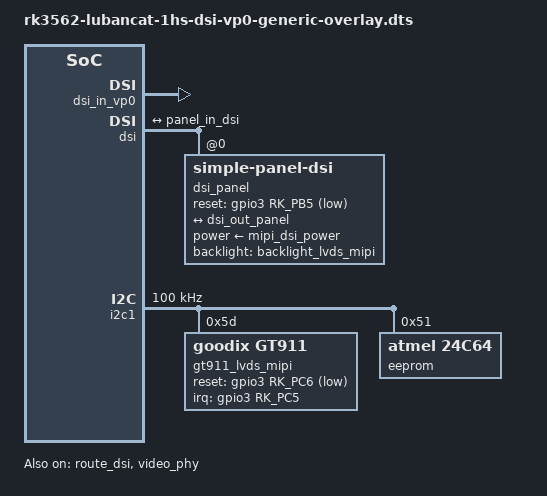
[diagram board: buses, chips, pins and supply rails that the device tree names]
/dts-v1/;
/plugin/;

#include <dt-bindings/gpio/gpio.h>
#include <dt-bindings/pinctrl/rockchip.h>
#include <dt-bindings/display/drm_mipi_dsi.h>
#include <dt-bindings/interrupt-controller/irq.h>

/ {
	fragment@0 {
		target = <&route_dsi>;

		__overlay__ {
			status = "okay";
			connect = <&vp0_out_dsi>;
		};
	};

	fragment@1 {
		target = <&video_phy>;

		__overlay__ {
			status = "okay";
		};
	};

	fragment@2 {
		target = <&dsi_in_vp0>;

		__overlay__ {
			status = "okay";
		};
	};

	fragment@3 {
		target = <&dsi>;

		__overlay__ {
			status = "okay";
			#address-cells = <1>;
			#size-cells = <0>;

			dsi_panel: panel@0 {
				status = "okay";
				compatible = "simple-panel-dsi";
				reg = <0>;
				backlight = <&backlight_lvds_mipi>;
				power-supply=<&mipi_dsi_power>;
				reset-gpios = <&gpio3 RK_PB5 GPIO_ACTIVE_LOW>;
				pinctrl-names = "default";
				pinctrl-0 = <&lcd_rst_gpio>;

				enable-delay-ms = <35>;
				prepare-delay-ms = <6>;
				reset-delay-ms = <10>;
				init-delay-ms = <50>;
				unprepare-delay-ms = <0>;
				disable-delay-ms = <20>;

				size,width = <74>;
				size,height = <133>;

				dsi,flags = <(MIPI_DSI_MODE_VIDEO | MIPI_DSI_MODE_VIDEO_BURST | MIPI_DSI_MODE_LPM)>;
				dsi,format = <MIPI_DSI_FMT_RGB888>;
				dsi,lanes  = <4>;

				nvmem = <&eeprom0>;
				nvmem-names = "eeprom";

				ports {
					#address-cells = <1>;
					#size-cells = <0>;
					port@0 {
						reg = <0>;
						panel_in_dsi: endpoint {
							remote-endpoint = <&dsi_out_panel>;
						};
					};
				};
			};

			ports {
				#address-cells = <1>;
				#size-cells = <0>;
				port@1 {
					reg = <1>;
					dsi_out_panel: endpoint {
						remote-endpoint = <&panel_in_dsi>;
					};
				};
			};
		};
	};

	fragment@4 {
		target = <&i2c1>;

		__overlay__ {
			status = "okay";
			#address-cells = <1>;
			#size-cells = <0>;
			pinctrl-names = "default";
			pinctrl-0 = <&i2c1m1_xfer>;
			clock-frequency = <100000>;

			gt911_lvds_mipi: gt911@5d {
				status = "okay";
				compatible = "goodix,gt911";
				reg = <0x5d>;
				interrupt-parent = <&gpio3>;
				interrupts = <RK_PC5 IRQ_TYPE_LEVEL_LOW>;
				reset-gpios = <&gpio3 RK_PC6 GPIO_ACTIVE_LOW>;
				irq-gpios = <&gpio3 RK_PC5 GPIO_ACTIVE_HIGH>;
				nvmem = <&eeprom0>;
				nvmem-names = "eeprom";
			};

			eeprom0: eeprom@51 {
				compatible = "atmel,24c64";
				reg = <0x51>;
				label = "eeprom";
			};
		};
	};
};
